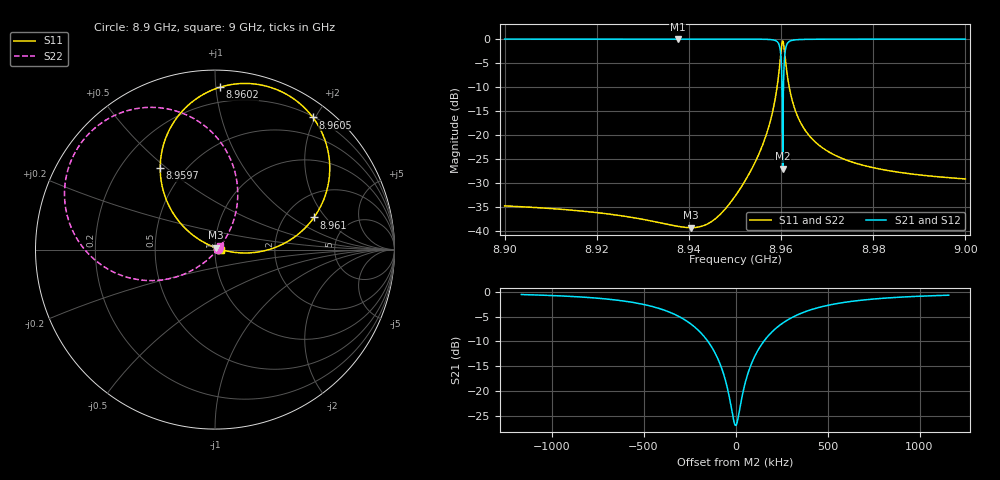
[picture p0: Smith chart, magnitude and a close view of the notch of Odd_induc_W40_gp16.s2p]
! Sonnet Data File
! From: emgraph Version : 16.52
! From Project: Resonator2_cp_varyW
! Data is De-embedded
! Data File Written: 10/08/2017 22:08:32
!< HDATE 10/08/2017 15:20:13
!< MDATE 10/08/2017 15:20:13
!< PARAMS
!< Length = 400.0
!< Pwid1 = 2000.0
!< Pwid2 = 2000.0
!< Air_gap = 24.0
!< Width = 40.0
!< gap = 16.0
!< END PARAMS
# GHZ S MA R 45.40000
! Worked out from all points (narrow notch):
!   1596 points, 8.9 GHz to 9 GHz, reference 45.4 ohm
!   highest |S21| = 0.00 dB at 8.9376 GHz (marker M1); lowest = -27.0 dB at 8.9604 GHz (marker M2)
!   notch at M2: 26.9 dB deep, 195 kHz wide at half that depth
!   lowest |S11| = -39.3 dB at 8.9405 GHz (marker M3), VSWR 1.02, Z = 45.7 + j0.937 ohm
!   |S11| at or under -10 dB: start of sweep to 8.9591 GHz; 8.96177 GHz to end of sweep
!   |S22| runs from -39.3 to -0.4 dB; largest |S21 - S12| = 0
!   S11 on the Smith chart (normalised r, x): 8.9 GHz: 1.04, +0.01; 8.9597 GHz: 0.37, +0.48; 8.9602 GHz: 0.10, +1.02; 8.9605 GHz: 0.21, +1.97; 8.961 GHz: 2.85, +1.54; 9 GHz: 1.07, -0.00
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8.9  0.01837 17.6  0.9998 -74.2  0.9998 -74.2  0.01837 14.1
!< P1 F=8.9 Eeff=(5.09096395 -2.214e-5) Z0=(45.4059169 1.00354e-4) R=0.0 C=0.0
!< P2 F=8.9 Eeff=(5.09096395 -2.214e-5) Z0=(45.4059169 1.00354e-4) R=0.0 C=0.0
8.9167  0.01623 23.1  0.9999 -74.5  0.9999 -74.5  0.01622 8.1
8.9334  0.01235 42.3  0.9999 -75.0  0.9999 -75.0  0.01232 -12.2
8.9376  0.01125 55.8  0.9999 -75.2  0.9999 -75.2  0.01121 -26.0
8.9405  0.0109 70.1  0.9999 -75.3  0.9999 -75.3  0.01085 -40.8
8.95  0.02306 130.4  0.9996 -76.6  0.9996 -76.6  0.02297 -104.0
8.957693  0.1415 146.9  0.9887 -83.6  0.9887 -83.6  0.1413 -135.2
8.958985  0.2841 140.4  0.9543 -92.0  0.9543 -92.0  0.2837 -146.2
8.959726  0.5481 123.9  0.8185 -108.7  0.8185 -108.7  0.5475 -165.1
8.959995  0.7413 108.4  0.6305 -123.2  0.6305 -123.2  0.7405 178.6
8.960207  0.9044 88.4  0.3238 -139.1  0.3238 -139.1  0.9035 158.0
8.960297  0.9458 77.9  0.1478 -139.8  0.1478 -139.8  0.9448 147.3
8.960362  0.9556 69.9  0.04488 -76.3  0.04488 -76.3  0.9546 139.1
8.960429  0.9461 61.8  0.1497 -10.9  0.1497 -10.9  0.9451 130.8
8.9605  0.9164 53.5  0.2887 -10.6  0.2887 -10.6  0.9154 122.3
8.960706  0.7708 34.0  0.5938 -25.2  0.5938 -25.2  0.77 102.2
8.960985  0.5801 18.0  0.7963 -40.1  0.7963 -40.1  0.5796 85.5
8.961603  0.3509 3.0  0.931 -55.0  0.931 -55.0  0.3506 68.8
8.962521  0.2203 -4.2  0.9736 -62.8  0.9736 -62.8  0.2201 59.5
8.9667  0.09184 -8.0  0.9955 -70.3  0.9955 -70.3  0.09179 47.6
8.9834  0.04267 -3.2  0.9991 -73.3  0.9991 -73.3  0.04266 36.5
9  0.03503 -0.5  0.9994 -73.9  0.9994 -73.9  0.03503 32.6
